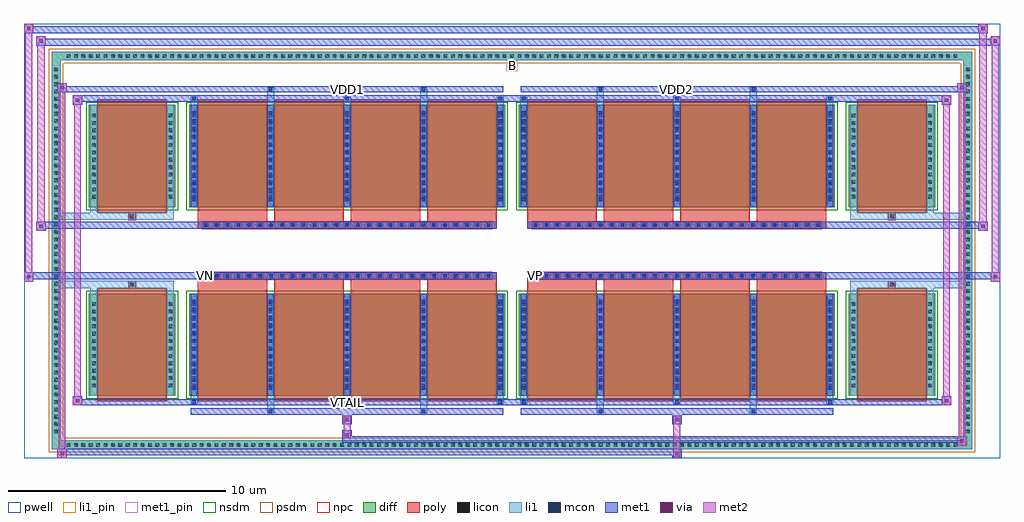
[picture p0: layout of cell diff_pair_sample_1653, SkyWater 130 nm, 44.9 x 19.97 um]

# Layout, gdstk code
import gdstk
lib = gdstk.Library(unit=1e-6, precision=5e-09)
def R(c, l, rs):  # rectangles x0, y0, x1, y1
    for r in rs: c.add(gdstk.rectangle(r[:2], r[2:], *l))
def A(c, l, x, y, w, h, nx, ny, dx, dy):  # array of equal rectangles
    R(c, l, [(x+i*dx, y+j*dy, x+i*dx+w, y+j*dy+h) for i in range(nx) for j in range(ny)])
def P(c, l, *ps):  # polygons
    for p in ps: c.add(gdstk.Polygon(p, *l))
pwell = (64, 44)
diff = (65, 20)
poly = (66, 20)
licon = (66, 44)
li1_pin = (67, 16)
li1 = (67, 20)
mcon = (67, 44)
met1_pin = (68, 16)
met1 = (68, 20)
via = (68, 44)
met2 = (69, 20)
nsdm = (93, 44)
psdm = (94, 20)
npc = (95, 20)

diff_pair_sample_1653 = lib.new_cell('diff_pair_sample_1653')
R(diff_pair_sample_1653, pwell, [(-22.45,-9.55,22.45,10.42), (-19.77,-7.74,-0.01,-0.8), (0.01,-7.74,19.77,-0.8), (-19.77,0.8,-0.01,7.74), (0.01,0.8,19.77,7.74)])
A(diff_pair_sample_1653, diff, -20.605, -9.15, 0.41, 0.41, 121, 2, 0.34, 17.89)
A(diff_pair_sample_1653, diff, -21.18, -8.535, 0.41, 0.41, 1, 50, 0, 0.34)
A(diff_pair_sample_1653, diff, 20.77, -8.535, 0.41, 0.41, 1, 50, 0, 0.34)
R(diff_pair_sample_1653, diff, [(-20.605,-9.15,20.605,-8.74), (-21.18,-8.535,-20.77,8.535), (20.77,-8.535,21.18,8.535), (-19.46,-6.695,-15.49,-1.985), (-14.85,-6.695,-0.32,-1.985), (0.32,-6.695,14.85,-1.985), (15.49,-6.695,19.46,-1.985), (-19.46,1.985,-15.49,6.695), (-14.85,1.985,-0.32,6.695), (0.32,1.985,14.85,6.695), (15.49,1.985,19.46,6.695), (-20.605,8.74,20.605,9.15)])
P(diff_pair_sample_1653, diff, [(21.18,9.15),(-21.18,9.15),(-21.18,-8.74),(-20.77,-8.74),(-20.77,8.74),(20.77,8.74),(20.77,-8.74),(-20.77,-8.74),(-21.18,-8.74),(-21.18,-9.15),(21.18,-9.15)])
A(diff_pair_sample_1653, poly, -14.46, -6.945, 3.19, 5.21, 4, 2, 3.52, 8.68)
A(diff_pair_sample_1653, poly, 0.71, -6.945, 3.19, 5.21, 4, 2, 3.52, 8.68)
A(diff_pair_sample_1653, poly, -14.46, -1.735, 3.19, 0.405, 4, 2, 3.52, 3.065)
A(diff_pair_sample_1653, poly, 0.71, -1.735, 3.19, 0.405, 4, 2, 3.52, 3.065)
A(diff_pair_sample_1653, poly, -14.25, -1.33, 0.33, 0.33, 27, 2, 0.5, 2.33)
A(diff_pair_sample_1653, poly, 0.92, -1.33, 0.33, 0.33, 27, 2, 0.5, 2.33)
R(diff_pair_sample_1653, poly, [(-19.07,-6.945,-15.88,-1.735), (15.88,-6.945,19.07,-1.735), (-17.64,-1.735,-17.31,-1.405), (-17.64,-1.735,-17.31,-1.405), (17.31,-1.735,17.64,-1.405), (17.31,-1.735,17.64,-1.405), (-14.46,-1.33,-0.71,-1), (0.71,-1.33,14.46,-1), (-14.46,1,-0.71,1.33), (0.71,1,14.46,1.33), (-17.64,1.405,-17.31,1.735), (-17.64,1.405,-17.31,1.735), (17.31,1.405,17.64,1.735), (17.31,1.405,17.64,1.735), (-19.07,1.735,-15.88,6.945), (15.88,1.735,19.07,6.945)])
A(diff_pair_sample_1653, licon, -20.485, -9.03, 0.17, 0.17, 121, 2, 0.34, 17.89)
A(diff_pair_sample_1653, licon, -21.06, -8.415, 0.17, 0.17, 1, 50, 0, 0.34)
A(diff_pair_sample_1653, licon, 20.89, -8.415, 0.17, 0.17, 1, 50, 0, 0.34)
A(diff_pair_sample_1653, licon, -19.32, -6.295, 0.17, 0.17, 1, 12, 0, 0.34)
A(diff_pair_sample_1653, licon, -15.8, -6.295, 0.17, 0.17, 1, 12, 0, 0.34)
A(diff_pair_sample_1653, licon, -14.71, -6.295, 0.17, 0.17, 5, 12, 3.52, 0.34)
A(diff_pair_sample_1653, licon, 0.46, -6.295, 0.17, 0.17, 5, 12, 3.52, 0.34)
A(diff_pair_sample_1653, licon, 15.63, -6.295, 0.17, 0.17, 1, 12, 0, 0.34)
A(diff_pair_sample_1653, licon, 19.15, -6.295, 0.17, 0.17, 1, 12, 0, 0.34)
A(diff_pair_sample_1653, licon, -14.17, -1.25, 0.17, 0.17, 27, 2, 0.5, 2.33)
A(diff_pair_sample_1653, licon, 1, -1.25, 0.17, 0.17, 27, 2, 0.5, 2.33)
A(diff_pair_sample_1653, licon, -19.32, 2.385, 0.17, 0.17, 1, 12, 0, 0.34)
A(diff_pair_sample_1653, licon, -15.8, 2.385, 0.17, 0.17, 1, 12, 0, 0.34)
A(diff_pair_sample_1653, licon, -14.71, 2.385, 0.17, 0.17, 5, 12, 3.52, 0.34)
A(diff_pair_sample_1653, licon, 0.46, 2.385, 0.17, 0.17, 5, 12, 3.52, 0.34)
A(diff_pair_sample_1653, licon, 15.63, 2.385, 0.17, 0.17, 1, 12, 0, 0.34)
A(diff_pair_sample_1653, licon, 19.15, 2.385, 0.17, 0.17, 1, 12, 0, 0.34)
R(diff_pair_sample_1653, licon, [(-17.56,-1.655,-17.39,-1.485), (17.39,-1.655,17.56,-1.485), (-17.56,1.485,-17.39,1.655), (17.39,1.485,17.56,1.655)])
R(diff_pair_sample_1653, li1_pin, [(-0.25,8.24,0.25,8.74)])
A(diff_pair_sample_1653, li1, -20.565, -9.11, 0.33, 0.33, 121, 2, 0.34, 17.89)
A(diff_pair_sample_1653, li1, -21.14, -8.495, 0.33, 0.33, 1, 50, 0, 0.34)
A(diff_pair_sample_1653, li1, 20.81, -8.495, 0.33, 0.33, 1, 50, 0, 0.34)
A(diff_pair_sample_1653, li1, -14.79, -7.07, 0.33, 0.375, 3, 2, 7.04, 13.765)
A(diff_pair_sample_1653, li1, -14.71, -7.07, 0.17, 0.17, 3, 2, 7.04, 13.97)
A(diff_pair_sample_1653, li1, 0.38, -7.07, 0.33, 0.375, 3, 2, 7.04, 13.765)
A(diff_pair_sample_1653, li1, 0.46, -7.07, 0.17, 0.17, 3, 2, 7.04, 13.97)
A(diff_pair_sample_1653, li1, -14.79, -6.695, 0.33, 4.71, 5, 2, 3.52, 8.68)
A(diff_pair_sample_1653, li1, 0.38, -6.695, 0.33, 4.71, 5, 2, 3.52, 8.68)
A(diff_pair_sample_1653, li1, -14.71, -6.405, 0.17, 0.17, 5, 12, 3.52, 0.36)
A(diff_pair_sample_1653, li1, -14.71, -6.405, 0.17, 4.13, 5, 2, 3.52, 8.68)
A(diff_pair_sample_1653, li1, 0.46, -6.405, 0.17, 0.17, 5, 12, 3.52, 0.36)
A(diff_pair_sample_1653, li1, 0.46, -6.405, 0.17, 4.13, 5, 2, 3.52, 8.68)
A(diff_pair_sample_1653, li1, -19.4, -6.375, 0.33, 0.33, 1, 12, 0, 0.34)
A(diff_pair_sample_1653, li1, -15.88, -6.375, 0.33, 0.33, 1, 12, 0, 0.34)
A(diff_pair_sample_1653, li1, -14.79, -6.375, 0.33, 0.33, 5, 12, 3.52, 0.34)
A(diff_pair_sample_1653, li1, 0.38, -6.375, 0.33, 0.33, 5, 12, 3.52, 0.34)
A(diff_pair_sample_1653, li1, 15.55, -6.375, 0.33, 0.33, 1, 12, 0, 0.34)
A(diff_pair_sample_1653, li1, 19.07, -6.375, 0.33, 0.33, 1, 12, 0, 0.34)
A(diff_pair_sample_1653, li1, -14.25, -1.33, 0.33, 0.33, 27, 2, 0.5, 2.33)
A(diff_pair_sample_1653, li1, 0.92, -1.33, 0.33, 0.33, 27, 2, 0.5, 2.33)
A(diff_pair_sample_1653, li1, -14.71, 2.275, 0.17, 0.17, 5, 12, 3.52, 0.36)
A(diff_pair_sample_1653, li1, 0.46, 2.275, 0.17, 0.17, 5, 12, 3.52, 0.36)
A(diff_pair_sample_1653, li1, -19.4, 2.305, 0.33, 0.33, 1, 12, 0, 0.34)
A(diff_pair_sample_1653, li1, -15.88, 2.305, 0.33, 0.33, 1, 12, 0, 0.34)
A(diff_pair_sample_1653, li1, -14.79, 2.305, 0.33, 0.33, 5, 12, 3.52, 0.34)
A(diff_pair_sample_1653, li1, 0.38, 2.305, 0.33, 0.33, 5, 12, 3.52, 0.34)
A(diff_pair_sample_1653, li1, 15.55, 2.305, 0.33, 0.33, 1, 12, 0, 0.34)
A(diff_pair_sample_1653, li1, 19.07, 2.305, 0.33, 0.33, 1, 12, 0, 0.34)
R(diff_pair_sample_1653, li1, [(-21.18,-9.15,-20.77,-8.74), (-21.18,-9.15,-20.77,-8.74), (-20.77,-9.15,20.77,-8.74), (20.77,-9.15,21.18,-8.74), (20.77,-9.15,21.18,-8.74), (-21.18,-8.74,-20.77,8.74), (20.77,-8.74,21.18,8.74), (-11.27,-7.5,-10.94,-6.695), (-11.19,-7.5,-11.02,-7.33), (-4.23,-7.5,-3.9,-6.695), (-4.15,-7.5,-3.98,-7.33), (3.9,-7.5,4.23,-6.695), (3.98,-7.5,4.15,-7.33), (10.94,-7.5,11.27,-6.695), (11.02,-7.5,11.19,-7.33), (-19.4,-6.695,-19.07,-1.985), (-15.88,-6.695,-15.55,-1.985), (15.55,-6.695,15.88,-1.985), (19.07,-6.695,19.4,-1.985), (-19.4,-1.985,-19.07,-1.405), (-15.88,-1.985,-15.55,-1.405), (15.55,-1.985,15.88,-1.405), (19.07,-1.985,19.4,-1.405), (-21.18,-1.735,-17.64,-1.405), (-19.4,-1.735,-17.64,-1.405), (-17.64,-1.735,-17.31,-1.405), (-17.31,-1.735,-15.55,-1.405), (15.55,-1.735,17.31,-1.405), (17.31,-1.735,17.64,-1.405), (17.31,-1.735,21.18,-1.405), (17.64,-1.735,19.4,-1.405), (-21.18,1.405,-17.64,1.735), (-19.4,1.405,-17.64,1.735), (-19.4,1.405,-19.07,1.985), (-17.64,1.405,-17.31,1.735), (-17.31,1.405,-15.55,1.735), (-15.88,1.405,-15.55,1.985), (15.55,1.405,17.31,1.735), (15.55,1.405,15.88,1.985), (17.31,1.405,17.64,1.735), (17.31,1.405,21.18,1.735), (17.64,1.405,19.4,1.735), (19.07,1.405,19.4,1.985), (-19.4,1.985,-19.07,6.695), (-15.88,1.985,-15.55,6.695), (15.55,1.985,15.88,6.695), (19.07,1.985,19.4,6.695), (-11.27,6.695,-10.94,7.5), (-4.23,6.695,-3.9,7.5), (3.9,6.695,4.23,7.5), (10.94,6.695,11.27,7.5), (-11.19,7.33,-11.02,7.5), (-4.15,7.33,-3.98,7.5), (3.98,7.33,4.15,7.5), (11.02,7.33,11.19,7.5), (-21.18,8.74,-20.77,9.15), (-21.18,8.74,-20.77,9.15), (-20.77,8.74,20.77,9.15), (20.77,8.74,21.18,9.15), (20.77,8.74,21.18,9.15)])
A(diff_pair_sample_1653, mcon, -14.71, -7.07, 0.17, 0.17, 3, 2, 7.04, 13.97)
A(diff_pair_sample_1653, mcon, 0.46, -7.07, 0.17, 0.17, 3, 2, 7.04, 13.97)
A(diff_pair_sample_1653, mcon, -14.71, -6.405, 0.17, 0.17, 5, 12, 3.52, 0.36)
A(diff_pair_sample_1653, mcon, 0.46, -6.405, 0.17, 0.17, 5, 12, 3.52, 0.36)
A(diff_pair_sample_1653, mcon, -14.17, -1.25, 0.17, 0.17, 27, 2, 0.5, 2.33)
A(diff_pair_sample_1653, mcon, 1, -1.25, 0.17, 0.17, 27, 2, 0.5, 2.33)
A(diff_pair_sample_1653, mcon, -14.71, 2.275, 0.17, 0.17, 5, 12, 3.52, 0.36)
A(diff_pair_sample_1653, mcon, 0.46, 2.275, 0.17, 0.17, 5, 12, 3.52, 0.36)
R(diff_pair_sample_1653, mcon, [(-11.19,-7.5,-11.02,-7.33), (-4.15,-7.5,-3.98,-7.33), (3.98,-7.5,4.15,-7.33), (11.02,-7.5,11.19,-7.33), (-11.19,7.33,-11.02,7.5), (-4.15,7.33,-3.98,7.5), (3.98,7.33,4.15,7.5), (11.02,7.33,11.19,7.5)])
R(diff_pair_sample_1653, met1_pin, [(-7.72,-7.11,-7.45,-6.84), (-14.22,-1.29,-13.95,-1.02), (0.95,-1.29,1.22,-1.02), (-7.72,7.29,-7.45,7.56), (7.45,7.29,7.72,7.56)])
A(diff_pair_sample_1653, met1, -14.77, -7.13, 0.29, 0.29, 3, 2, 7.04, 13.97)
A(diff_pair_sample_1653, met1, 0.4, -7.13, 0.29, 0.29, 3, 2, 7.04, 13.97)
A(diff_pair_sample_1653, met1, -14.77, -6.695, 0.29, 4.71, 5, 2, 3.52, 8.68)
A(diff_pair_sample_1653, met1, 0.4, -6.695, 0.29, 4.71, 5, 2, 3.52, 8.68)
A(diff_pair_sample_1653, met1, -14.77, -6.465, 0.29, 0.29, 5, 12, 3.52, 0.36)
A(diff_pair_sample_1653, met1, 0.4, -6.465, 0.29, 0.29, 5, 12, 3.52, 0.36)
A(diff_pair_sample_1653, met1, -14.23, -1.31, 0.29, 0.29, 27, 2, 0.5, 2.33)
A(diff_pair_sample_1653, met1, 0.94, -1.31, 0.29, 0.29, 27, 2, 0.5, 2.33)
A(diff_pair_sample_1653, met1, -14.77, 2.215, 0.29, 0.29, 5, 12, 3.52, 0.36)
A(diff_pair_sample_1653, met1, 0.4, 2.215, 0.29, 0.29, 5, 12, 3.52, 0.36)
R(diff_pair_sample_1653, met1, [(-20.91,-9.55,-20.48,-9.12), (7.37,-9.55,7.8,-9.12), (-20.91,-9.41,7.8,-9.12), (20.48,-8.98,20.91,-8.55), (-7.8,-8.84,20.91,-8.55), (-7.8,-8.7,-7.37,-8.27), (-7.8,-7.99,-7.37,-7.56), (7.37,-7.99,7.8,-7.56), (-14.77,-7.56,-0.4,-7.27), (-11.25,-7.56,-10.96,-7.27), (-4.21,-7.56,-3.92,-7.27), (0.4,-7.56,14.77,-7.27), (3.92,-7.56,4.21,-7.27), (10.96,-7.56,11.25,-7.27), (-20.2,-7.13,-19.77,-6.7), (-20.2,-7.13,-14.77,-6.84), (-14.77,-7.13,-0.4,-6.84), (-0.4,-7.13,0.4,-6.84), (0.4,-7.13,14.77,-6.84), (14.77,-7.13,20.2,-6.84), (19.77,-7.13,20.2,-6.7), (-22.45,-1.43,-22.02,-1), (22.02,-1.43,22.45,-1), (-22.45,-1.33,-0.71,-1), (-14.46,-1.33,-0.71,-1), (0.71,-1.33,14.46,-1), (0.71,-1.33,22.45,-1), (-21.88,0.9,-21.45,1.33), (21.45,0.9,21.88,1.33), (-21.88,1,-14.46,1.33), (-14.46,1,-0.71,1.33), (0.71,1,14.46,1.33), (14.46,1,21.88,1.33), (-20.2,6.7,-19.77,7.13), (19.77,6.7,20.2,7.13), (-20.2,6.84,-14.77,7.13), (-14.77,6.84,-0.4,7.13), (-0.4,6.84,0.4,7.13), (0.4,6.84,14.77,7.13), (14.77,6.84,20.2,7.13), (-20.91,7.27,-20.48,7.7), (-20.91,7.27,-14.77,7.56), (-14.77,7.27,-0.4,7.56), (-11.25,7.27,-10.96,7.56), (-4.21,7.27,-3.92,7.56), (0.4,7.27,14.77,7.56), (3.92,7.27,4.21,7.56), (10.96,7.27,11.25,7.56), (14.77,7.27,20.91,7.56), (20.48,7.27,20.91,7.7), (-21.88,9.42,-21.45,9.85), (-21.88,9.42,-19.77,9.75), (-19.77,9.42,19.77,9.75), (19.77,9.42,22.45,9.75), (22.02,9.42,22.45,9.85), (-22.45,9.99,-22.02,10.42), (-22.45,9.99,-19.77,10.32), (-19.77,9.99,19.77,10.32), (19.77,9.99,21.88,10.32), (21.45,9.99,21.88,10.42)])
R(diff_pair_sample_1653, via, [(-20.77,-9.41,-20.62,-9.26), (7.51,-9.41,7.66,-9.26), (20.62,-8.84,20.77,-8.69), (-7.66,-8.56,-7.51,-8.41), (-7.66,-7.85,-7.51,-7.7), (7.51,-7.85,7.66,-7.7), (-20.06,-6.99,-19.91,-6.84), (19.91,-6.99,20.06,-6.84), (-22.31,-1.29,-22.16,-1.14), (22.16,-1.29,22.31,-1.14), (-21.74,1.04,-21.59,1.19), (21.59,1.04,21.74,1.19), (-20.06,6.84,-19.91,6.99), (19.91,6.84,20.06,6.99), (-20.77,7.41,-20.62,7.56), (20.62,7.41,20.77,7.56), (-21.74,9.56,-21.59,9.71), (22.16,9.56,22.31,9.71), (-22.31,10.13,-22.16,10.28), (21.59,10.13,21.74,10.28)])
R(diff_pair_sample_1653, met2, [(-20.91,-9.55,-20.48,-9.12), (-20.84,-9.55,-20.55,7.7), (-20.55,-9.55,-20.48,-9.12), (-20.86,-9.5,-20.53,-9.17), (7.42,-9.5,7.75,-9.17), (7.42,-9.17,7.75,-7.94), (20.48,-8.98,20.91,-8.55), (20.55,-8.98,20.84,7.7), (20.84,-8.98,20.91,-8.55), (20.53,-8.93,20.86,-8.6), (-7.75,-8.65,-7.42,-8.32), (-7.75,-8.32,-7.42,-7.94), (-7.75,-7.94,-7.42,-7.61), (7.42,-7.94,7.75,-7.61), (-20.2,-7.13,-19.77,-6.7), (-20.13,-7.13,-19.84,7.13), (-19.84,-7.13,-19.77,-6.7), (19.77,-7.13,20.2,-6.7), (19.84,-7.13,20.13,7.13), (20.13,-7.13,20.2,-6.7), (-20.15,-7.08,-19.82,-6.75), (19.82,-7.08,20.15,-6.75), (-22.45,-1.43,-22.02,-1), (-22.4,-1.43,-22.07,10.42), (-22.07,-1.43,-22.02,-1), (22.02,-1.43,22.45,-1), (22.07,-1.43,22.4,9.85), (22.4,-1.43,22.45,-1), (-22.4,-1.38,-22.07,-1.05), (22.07,-1.38,22.4,-1.05), (-21.88,0.9,-21.45,1.33), (-21.83,0.9,-21.5,9.85), (-21.5,0.9,-21.45,1.33), (21.45,0.9,21.88,1.33), (21.5,0.9,21.83,10.42), (21.83,0.9,21.88,1.33), (-21.83,0.95,-21.5,1.28), (21.5,0.95,21.83,1.28), (-20.2,6.7,-19.77,7.13), (-19.84,6.7,-19.77,7.13), (19.77,6.7,20.2,7.13), (20.13,6.7,20.2,7.13), (-20.15,6.75,-19.82,7.08), (19.82,6.75,20.15,7.08), (-20.91,7.27,-20.48,7.7), (-20.55,7.27,-20.48,7.7), (20.48,7.27,20.91,7.7), (20.84,7.27,20.91,7.7), (-20.86,7.32,-20.53,7.65), (20.53,7.32,20.86,7.65), (-21.88,9.42,-21.45,9.85), (-21.5,9.42,-21.45,9.85), (22.02,9.42,22.45,9.85), (22.4,9.42,22.45,9.85), (-21.83,9.47,-21.5,9.8), (22.07,9.47,22.4,9.8), (-22.45,9.99,-22.02,10.42), (-22.07,9.99,-22.02,10.42), (21.45,9.99,21.88,10.42), (21.83,9.99,21.88,10.42), (-22.4,10.04,-22.07,10.37), (21.5,10.04,21.83,10.37)])
R(diff_pair_sample_1653, nsdm, [(-19.59,-6.825,-15.36,-1.855), (-14.98,-6.825,-0.19,-1.855), (0.19,-6.825,14.98,-1.855), (15.36,-6.825,19.59,-1.855), (-19.59,1.855,-15.36,6.825), (-14.98,1.855,-0.19,6.825), (0.19,1.855,14.98,6.825), (15.36,1.855,19.59,6.825)])
P(diff_pair_sample_1653, psdm, [(21.31,9.28),(-21.31,9.28),(-21.31,-8.61),(-20.64,-8.61),(-20.64,8.61),(20.64,8.61),(20.64,-8.61),(-20.64,-8.61),(-21.31,-8.61),(-21.31,-9.28),(21.31,-9.28)])
A(diff_pair_sample_1653, npc, -14.27, -1.35, 0.37, 0.37, 27, 2, 0.5, 2.33)
A(diff_pair_sample_1653, npc, 0.9, -1.35, 0.37, 0.37, 27, 2, 0.5, 2.33)
R(diff_pair_sample_1653, npc, [(-17.66,-1.755,-17.29,-1.385), (17.29,-1.755,17.66,-1.385), (-14.27,-1.35,-13.4,-0.98), (-14.27,-1.35,-13.4,-0.98), (-13.77,-1.35,-12.9,-0.98), (-13.77,-1.35,-12.9,-0.98), (-13.27,-1.35,-12.4,-0.98), (-13.27,-1.35,-12.4,-0.98), (-12.77,-1.35,-11.9,-0.98), (-12.77,-1.35,-11.9,-0.98), (-12.27,-1.35,-11.4,-0.98), (-12.27,-1.35,-11.4,-0.98), (-11.77,-1.35,-10.9,-0.98), (-11.77,-1.35,-10.9,-0.98), (-11.27,-1.35,-10.4,-0.98), (-11.27,-1.35,-10.4,-0.98), (-10.77,-1.35,-9.9,-0.98), (-10.77,-1.35,-9.9,-0.98), (-10.27,-1.35,-9.4,-0.98), (-10.27,-1.35,-9.4,-0.98), (-9.77,-1.35,-8.9,-0.98), (-9.77,-1.35,-8.9,-0.98), (-9.27,-1.35,-8.4,-0.98), (-9.27,-1.35,-8.4,-0.98), (-8.77,-1.35,-7.9,-0.98), (-8.77,-1.35,-7.9,-0.98), (-8.27,-1.35,-7.4,-0.98), (-8.27,-1.35,-7.4,-0.98), (-7.77,-1.35,-6.9,-0.98), (-7.77,-1.35,-6.9,-0.98), (-7.27,-1.35,-6.4,-0.98), (-7.27,-1.35,-6.4,-0.98), (-6.77,-1.35,-5.9,-0.98), (-6.77,-1.35,-5.9,-0.98), (-6.27,-1.35,-5.4,-0.98), (-6.27,-1.35,-5.4,-0.98), (-5.77,-1.35,-4.9,-0.98), (-5.77,-1.35,-4.9,-0.98), (-5.27,-1.35,-4.4,-0.98), (-5.27,-1.35,-4.4,-0.98), (-4.77,-1.35,-3.9,-0.98), (-4.77,-1.35,-3.9,-0.98), (-4.27,-1.35,-3.4,-0.98), (-4.27,-1.35,-3.4,-0.98), (-3.77,-1.35,-2.9,-0.98), (-3.77,-1.35,-2.9,-0.98), (-3.27,-1.35,-2.4,-0.98), (-3.27,-1.35,-2.4,-0.98), (-2.77,-1.35,-1.9,-0.98), (-2.77,-1.35,-1.9,-0.98), (-2.27,-1.35,-1.4,-0.98), (-2.27,-1.35,-1.4,-0.98), (-1.77,-1.35,-0.9,-0.98), (-1.77,-1.35,-0.9,-0.98), (0.9,-1.35,1.77,-0.98), (0.9,-1.35,1.77,-0.98), (1.4,-1.35,2.27,-0.98), (1.4,-1.35,2.27,-0.98), (1.9,-1.35,2.77,-0.98), (1.9,-1.35,2.77,-0.98), (2.4,-1.35,3.27,-0.98), (2.4,-1.35,3.27,-0.98), (2.9,-1.35,3.77,-0.98), (2.9,-1.35,3.77,-0.98), (3.4,-1.35,4.27,-0.98), (3.4,-1.35,4.27,-0.98), (3.9,-1.35,4.77,-0.98), (3.9,-1.35,4.77,-0.98), (4.4,-1.35,5.27,-0.98), (4.4,-1.35,5.27,-0.98), (4.9,-1.35,5.77,-0.98), (4.9,-1.35,5.77,-0.98), (5.4,-1.35,6.27,-0.98), (5.4,-1.35,6.27,-0.98), (5.9,-1.35,6.77,-0.98), (5.9,-1.35,6.77,-0.98), (6.4,-1.35,7.27,-0.98), (6.4,-1.35,7.27,-0.98), (6.9,-1.35,7.77,-0.98), (6.9,-1.35,7.77,-0.98), (7.4,-1.35,8.27,-0.98), (7.4,-1.35,8.27,-0.98), (7.9,-1.35,8.77,-0.98), (7.9,-1.35,8.77,-0.98), (8.4,-1.35,9.27,-0.98), (8.4,-1.35,9.27,-0.98), (8.9,-1.35,9.77,-0.98), (8.9,-1.35,9.77,-0.98), (9.4,-1.35,10.27,-0.98), (9.4,-1.35,10.27,-0.98), (9.9,-1.35,10.77,-0.98), (9.9,-1.35,10.77,-0.98), (10.4,-1.35,11.27,-0.98), (10.4,-1.35,11.27,-0.98), (10.9,-1.35,11.77,-0.98), (10.9,-1.35,11.77,-0.98), (11.4,-1.35,12.27,-0.98), (11.4,-1.35,12.27,-0.98), (11.9,-1.35,12.77,-0.98), (11.9,-1.35,12.77,-0.98), (12.4,-1.35,13.27,-0.98), (12.4,-1.35,13.27,-0.98), (12.9,-1.35,13.77,-0.98), (12.9,-1.35,13.77,-0.98), (13.4,-1.35,14.27,-0.98), (13.4,-1.35,14.27,-0.98), (-14.27,0.98,-13.4,1.35), (-14.27,0.98,-13.4,1.35), (-13.77,0.98,-12.9,1.35), (-13.77,0.98,-12.9,1.35), (-13.27,0.98,-12.4,1.35), (-13.27,0.98,-12.4,1.35), (-12.77,0.98,-11.9,1.35), (-12.77,0.98,-11.9,1.35), (-12.27,0.98,-11.4,1.35), (-12.27,0.98,-11.4,1.35), (-11.77,0.98,-10.9,1.35), (-11.77,0.98,-10.9,1.35), (-11.27,0.98,-10.4,1.35), (-11.27,0.98,-10.4,1.35), (-10.77,0.98,-9.9,1.35), (-10.77,0.98,-9.9,1.35), (-10.27,0.98,-9.4,1.35), (-10.27,0.98,-9.4,1.35), (-9.77,0.98,-8.9,1.35), (-9.77,0.98,-8.9,1.35), (-9.27,0.98,-8.4,1.35), (-9.27,0.98,-8.4,1.35), (-8.77,0.98,-7.9,1.35), (-8.77,0.98,-7.9,1.35), (-8.27,0.98,-7.4,1.35), (-8.27,0.98,-7.4,1.35), (-7.77,0.98,-6.9,1.35), (-7.77,0.98,-6.9,1.35), (-7.27,0.98,-6.4,1.35), (-7.27,0.98,-6.4,1.35), (-6.77,0.98,-5.9,1.35), (-6.77,0.98,-5.9,1.35), (-6.27,0.98,-5.4,1.35), (-6.27,0.98,-5.4,1.35), (-5.77,0.98,-4.9,1.35), (-5.77,0.98,-4.9,1.35), (-5.27,0.98,-4.4,1.35), (-5.27,0.98,-4.4,1.35), (-4.77,0.98,-3.9,1.35), (-4.77,0.98,-3.9,1.35), (-4.27,0.98,-3.4,1.35), (-4.27,0.98,-3.4,1.35), (-3.77,0.98,-2.9,1.35), (-3.77,0.98,-2.9,1.35), (-3.27,0.98,-2.4,1.35), (-3.27,0.98,-2.4,1.35), (-2.77,0.98,-1.9,1.35), (-2.77,0.98,-1.9,1.35), (-2.27,0.98,-1.4,1.35), (-2.27,0.98,-1.4,1.35), (-1.77,0.98,-0.9,1.35), (-1.77,0.98,-0.9,1.35), (0.9,0.98,1.77,1.35), (0.9,0.98,1.77,1.35), (1.4,0.98,2.27,1.35), (1.4,0.98,2.27,1.35), (1.9,0.98,2.77,1.35), (1.9,0.98,2.77,1.35), (2.4,0.98,3.27,1.35), (2.4,0.98,3.27,1.35), (2.9,0.98,3.77,1.35), (2.9,0.98,3.77,1.35), (3.4,0.98,4.27,1.35), (3.4,0.98,4.27,1.35), (3.9,0.98,4.77,1.35), (3.9,0.98,4.77,1.35), (4.4,0.98,5.27,1.35), (4.4,0.98,5.27,1.35), (4.9,0.98,5.77,1.35), (4.9,0.98,5.77,1.35), (5.4,0.98,6.27,1.35), (5.4,0.98,6.27,1.35), (5.9,0.98,6.77,1.35), (5.9,0.98,6.77,1.35), (6.4,0.98,7.27,1.35), (6.4,0.98,7.27,1.35), (6.9,0.98,7.77,1.35), (6.9,0.98,7.77,1.35), (7.4,0.98,8.27,1.35), (7.4,0.98,8.27,1.35), (7.9,0.98,8.77,1.35), (7.9,0.98,8.77,1.35), (8.4,0.98,9.27,1.35), (8.4,0.98,9.27,1.35), (8.9,0.98,9.77,1.35), (8.9,0.98,9.77,1.35), (9.4,0.98,10.27,1.35), (9.4,0.98,10.27,1.35), (9.9,0.98,10.77,1.35), (9.9,0.98,10.77,1.35), (10.4,0.98,11.27,1.35), (10.4,0.98,11.27,1.35), (10.9,0.98,11.77,1.35), (10.9,0.98,11.77,1.35), (11.4,0.98,12.27,1.35), (11.4,0.98,12.27,1.35), (11.9,0.98,12.77,1.35), (11.9,0.98,12.77,1.35), (12.4,0.98,13.27,1.35), (12.4,0.98,13.27,1.35), (12.9,0.98,13.77,1.35), (12.9,0.98,13.77,1.35), (13.4,0.98,14.27,1.35), (13.4,0.98,14.27,1.35), (-17.66,1.385,-17.29,1.755), (17.29,1.385,17.66,1.755)])
diff_pair_sample_1653.add(gdstk.Label('VTAIL', (-7.585,-6.975), layer=68, texttype=5))
diff_pair_sample_1653.add(gdstk.Label('VN', (-14.085,-1.155), layer=68, texttype=5))
diff_pair_sample_1653.add(gdstk.Label('VP', (1.085,-1.155), layer=68, texttype=5))
diff_pair_sample_1653.add(gdstk.Label('B', (0,8.49), layer=67, texttype=5))
diff_pair_sample_1653.add(gdstk.Label('VDD2', (7.585,7.425), layer=68, texttype=5))
diff_pair_sample_1653.add(gdstk.Label('VDD1', (-7.585,7.425), layer=68, texttype=5))

lib.write_gds('diff_pair_sample_1653.gds')
